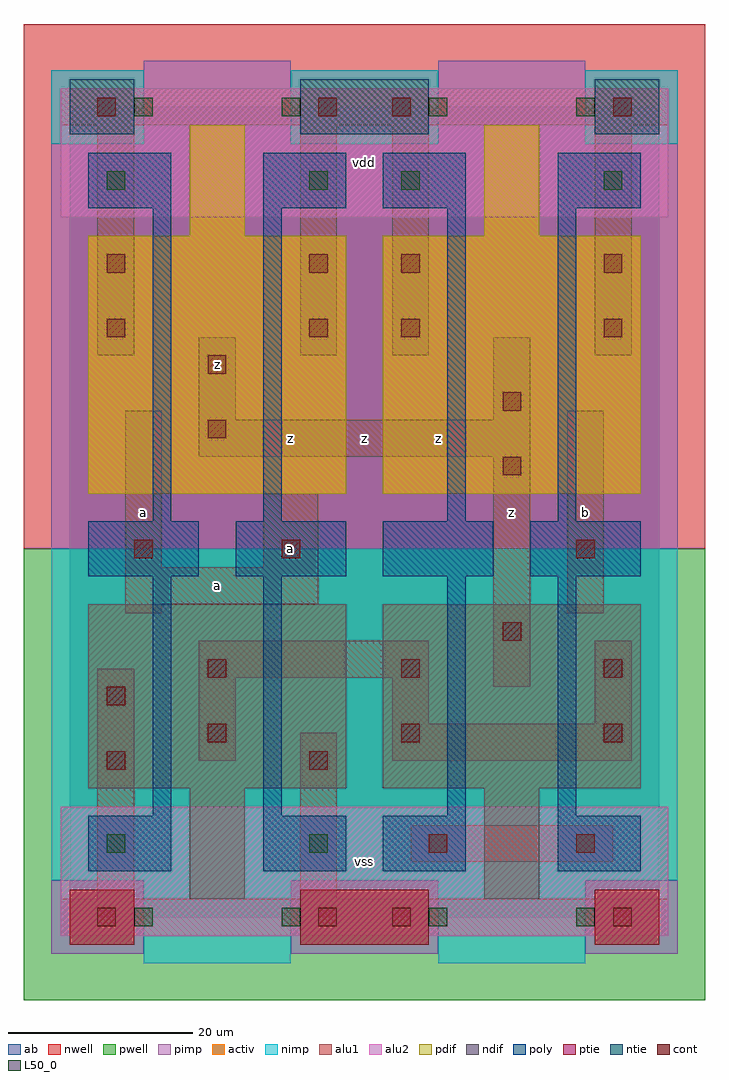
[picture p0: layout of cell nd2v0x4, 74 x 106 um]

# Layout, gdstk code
import gdstk
lib = gdstk.Library(unit=1e-6, precision=1e-09)
def R(c, l, rs):  # rectangles x0, y0, x1, y1
    for r in rs: c.add(gdstk.rectangle(r[:2], r[2:], *l))
def A(c, l, x, y, w, h, nx, ny, dx, dy):  # array of equal rectangles
    R(c, l, [(x+i*dx, y+j*dy, x+i*dx+w, y+j*dy+h) for i in range(nx) for j in range(ny)])
ndif = (3, 0)
pdif = (4, 0)
ntie = (5, 0)
ptie = (6, 0)
cont = (25, 0)
pwell = (41, 0)
nwell = (42, 0)
activ = (43, 0)
pimp = (44, 0)
nimp = (45, 0)
poly = (46, 0)
alu1 = (49, 0)
L50_0 = (50, 0)
alu2 = (51, 0)
ab = (63, 0)

nd2v0x4 = lib.new_cell('nd2v0x4')
R(nd2v0x4, ndif, [(13,2,19,14), (45,2,51,14), (2,14,30,34), (34,14,62,34)])
R(nd2v0x4, pdif, [(2,46,30,74), (34,46,62,74), (13,74,19,86), (45,74,51,86)])
R(nd2v0x4, ntie, [(0,85,7,91), (25,85,39,91), (57,85,64,91)])
R(nd2v0x4, ptie, [(0,-3,7,3), (25,-3,39,3), (57,-3,64,3)])
R(nd2v0x4, cont, [(3,-1,5,1), (27,-1,29,1), (35,-1,37,1), (59,-1,61,1), (39,7,41,9), (55,7,57,9), (4,16,6,18), (26,16,28,18), (15,19,17,21), (36,19,38,21), (58,19,60,21), (4,23,6,25), (15,26,17,28), (36,26,38,28), (58,26,60,28), (47,30,49,32), (7,39,9,41), (23,39,25,41), (55,39,57,41), (47,48,49,50), (15,52,17,54), (47,55,49,57), (15,59,17,61), (4,63,6,65), (26,63,28,65), (36,63,38,65), (58,63,60,65), (4,70,6,72), (26,70,28,72), (36,70,38,72), (58,70,60,72), (3,87,5,89), (27,87,29,89), (35,87,37,89), (59,87,61,89)])
R(nd2v0x4, pwell, [(-5,-9,69,40)])
R(nd2v0x4, nwell, [(-5,40,69,97)])
R(nd2v0x4, activ, [(0,-3,7,3), (25,-3,39,3), (57,-3,64,3), (13,2,19,14), (45,2,51,14), (2,14,30,34), (34,14,62,34), (2,46,30,74), (34,46,62,74), (13,74,19,86), (45,74,51,86), (0,85,7,91), (25,85,39,91), (57,85,64,91)])
R(nd2v0x4, pimp, [(-2,-4,8,4), (24,-4,40,4), (56,-4,66,4), (-2,40,66,84), (8,84,24,93), (40,84,56,93)])
R(nd2v0x4, nimp, [(8,-5,24,4), (40,-5,56,4), (-2,4,66,40), (-2,84,8,92), (24,84,40,92), (56,84,66,92)])
A(nd2v0x4, poly, 2, 37, 12, 6, 4, 1, 16, 0)
R(nd2v0x4, poly, [(2,5,11,11), (21,5,30,11), (34,5,43,11), (53,5,62,11), (9,11,11,37), (21,11,23,37), (41,11,43,37), (53,11,55,37), (9,43,11,77), (21,43,23,77), (41,43,43,77), (53,43,55,77), (2,77,11,83), (21,77,30,83), (34,77,43,83), (53,77,62,83)])
R(nd2v0x4, alu1, [(-1,-2,65,2), (3,2,7,27), (25,2,29,20), (37,6,59,10), (14,17,18,26), (35,17,61,21), (35,21,39,26), (57,21,61,30), (46,25,50,50), (14,26,39,30), (6,33,10,34), (54,33,58,55), (6,34,27,38), (6,38,10,55), (21,38,27,46), (14,50,50,54), (14,54,18,63), (46,54,50,63), (3,61,7,86), (25,61,29,86), (35,61,39,86), (57,61,61,86), (-1,86,65,90)])
A(nd2v0x4, L50_0, 7, -1, 2, 2, 4, 2, 16, 88)
R(nd2v0x4, L50_0, [(4,7,6,9), (26,7,28,9), (4,79,6,81), (26,79,28,81), (36,79,38,81), (58,79,60,81)])
R(nd2v0x4, alu2, [(-1,-2,65,12), (-1,76,65,90)])
R(nd2v0x4, ab, [(0,0,64,88)])
nd2v0x4.add(gdstk.Label('a', (8,44), layer=49, texttype=0))
nd2v0x4.add(gdstk.Label('a', (16,36), layer=49, texttype=0))
nd2v0x4.add(gdstk.Label('a', (24,40), layer=49, texttype=0))
nd2v0x4.add(gdstk.Label('z', (16,60), layer=49, texttype=0))
nd2v0x4.add(gdstk.Label('z', (24,52), layer=49, texttype=0))
nd2v0x4.add(gdstk.Label('z', (32,52), layer=49, texttype=0))
nd2v0x4.add(gdstk.Label('z', (40,52), layer=49, texttype=0))
nd2v0x4.add(gdstk.Label('b', (56,44), layer=49, texttype=0))
nd2v0x4.add(gdstk.Label('z', (48,44), layer=49, texttype=0))
nd2v0x4.add(gdstk.Label('vss', (32,6), layer=51, texttype=0))
nd2v0x4.add(gdstk.Label('vdd', (32,82), layer=51, texttype=0))

lib.write_gds('nd2v0x4.gds')
